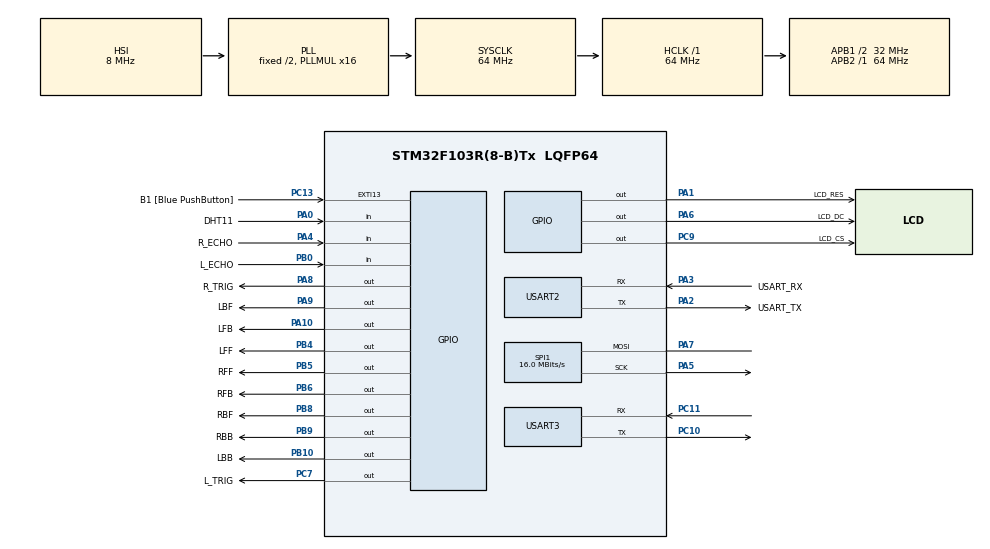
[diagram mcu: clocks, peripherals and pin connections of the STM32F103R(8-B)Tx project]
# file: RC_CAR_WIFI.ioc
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FREERTOS.Tasks01=control_task,24,128,StartDefaultTask,Default,NULL,Dynamic,NULL,NULL;wifi_task,8,128,StartTask02,Default,NULL,Dynamic,NULL,NULL;sensor_task,8,128,StartTask03,Default,NULL,Dynamic,NULL,NULL;ui_log_task,8,128,StartTask04,Default,NULL,Dynamic,NULL,NULL
Mcu.Family=STM32F1
Mcu.Name=STM32F103R(8-B)Tx
Mcu.Package=LQFP64
NVIC.EXTI15_10_IRQn=true\:5\:0\:false\:false\:true\:true\:true\:true\:true
NVIC.PriorityGroup=NVIC_PRIORITYGROUP_4
PA0-WKUP.GPIO_Label=DHT11
PA0-WKUP.Signal=GPIO_Input
PA1.GPIO_Label=LCD_RES
PA1.Signal=GPIO_Output
PA10.GPIO_Label=LFB
PA10.Signal=GPIO_Output
PA13.GPIO_Label=TMS
PA13.Mode=Serial_Wire
PA13.Signal=SYS_JTMS-SWDIO
PA14.GPIO_Label=TCK
PA14.Mode=Serial_Wire
PA14.Signal=SYS_JTCK-SWCLK
PA2.GPIO_Label=USART_TX
PA2.GPIO_Mode=GPIO_MODE_AF_PP
PA2.GPIO_PuPd=GPIO_NOPULL
PA2.GPIO_Speed=GPIO_SPEED_FREQ_LOW
PA2.Mode=Asynchronous
PA2.Signal=USART2_TX
PA3.GPIO_Label=USART_RX
PA3.GPIO_Mode=GPIO_MODE_AF_PP
PA3.GPIO_PuPd=GPIO_NOPULL
PA3.GPIO_Speed=GPIO_SPEED_FREQ_LOW
PA3.Mode=Asynchronous
PA3.Signal=USART2_RX
PA4.GPIO_Label=R_ECHO
PA4.Signal=GPIO_Input
PA5.Mode=Simplex_Bidirectional_Master
PA5.Signal=SPI1_SCK
PA6.GPIO_Label=LCD_DC
PA6.Signal=GPIO_Output
PA7.Mode=Simplex_Bidirectional_Master
PA7.Signal=SPI1_MOSI
PA8.GPIO_Label=R_TRIG
PA8.Signal=GPIO_Output
PA9.GPIO_Label=LBF
PA9.Signal=GPIO_Output
PB0.GPIO_Label=L_ECHO
PB0.Signal=GPIO_Input
PB10.GPIO_Label=LBB
PB10.Signal=GPIO_Output
PB3.GPIO_Label=SWO
PB3.Signal=SYS_JTDO-TRACESWO
PB4.GPIO_Label=LFF
PB4.Signal=GPIO_Output
PB5.GPIO_Label=RFF
PB5.Signal=GPIO_Output
PB6.GPIO_Label=RFB
PB6.Signal=GPIO_Output
PB8.GPIO_Label=RBF
PB8.Signal=GPIO_Output
PB9.GPIO_Label=RBB
PB9.Signal=GPIO_Output
PC10.Mode=Asynchronous
PC10.Signal=USART3_TX
PC11.Mode=Asynchronous
PC11.Signal=USART3_RX
PC13-TAMPER-RTC.GPIO_Label=B1 [Blue PushButton]
PC13-TAMPER-RTC.GPIO_PuPd=GPIO_NOPULL
PC13-TAMPER-RTC.Signal=GPXTI13
PC14-OSC32_IN.Signal=RCC_OSC32_IN
PC15-OSC32_OUT.Signal=RCC_OSC32_OUT
PC7.GPIO_Label=L_TRIG
PC7.Signal=GPIO_Output
PC9.GPIO_Label=LCD_CS
PC9.Signal=GPIO_Output
PD0-OSC_IN.Signal=RCC_OSC_IN
PD1-OSC_OUT.Signal=RCC_OSC_OUT
ProjectManager.HeapSize=0x200
ProjectManager.StackSize=0x400
ProjectManager.TargetToolchain=STM32CubeIDE
RCC.AHBFreq_Value=64000000
RCC.APB1CLKDivider=RCC_HCLK_DIV2
RCC.APB1Freq_Value=32000000
RCC.APB1TimFreq_Value=64000000
RCC.APB2Freq_Value=64000000
RCC.APB2TimFreq_Value=64000000
RCC.HCLKFreq_Value=64000000
RCC.PLLMUL=RCC_PLL_MUL16
RCC.RTCClockSelection=RCC_RTCCLKSOURCE_LSE
RCC.SYSCLKFreq_VALUE=64000000
RCC.SYSCLKSource=RCC_SYSCLKSOURCE_PLLCLK
RCC.USBFreq_Value=64000000
SPI1.BaudRatePrescaler=SPI_BAUDRATEPRESCALER_4
SPI1.CalculateBaudRate=16.0 MBits/s
SPI1.Direction=SPI_DIRECTION_1LINE
SPI1.Mode=SPI_MODE_MASTER
SPI1.VirtualType=VM_MASTER
TIM1.Prescaler=64-1
USART2.VirtualMode=VM_ASYNC
USART3.VirtualMode=VM_ASYNC
VP_FREERTOS_VS_CMSIS_V2.Mode=CMSIS_V2
VP_TIM1_VS_ClockSourceINT.Mode=Internal
board=NUCLEO-F103RB

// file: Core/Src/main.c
/* USER CODE BEGIN Header */
/**
 ******************************************************************************
 * @file           : main.c
 * @brief          : Main program body (RTOS 4-task + ST7735 + HC-SR04 + DHT11)
 ******************************************************************************
 * @attention
 * Copyright (c) 2025 STMicroelectronics.
 * All rights reserved.
 * This software is licensed under terms that can be found in the LICENSE file
 * in the root directory of this software component.
 * If no LICENSE file comes with this software, it is provided AS-IS.
 ******************************************************************************
 */
/* USER CODE END Header */
#include "main.h"
#include "cmsis_os.h"

/* USER CODE BEGIN Includes */
#include <string.h>
#include <stdio.h>
#include <stdbool.h>
/* USER CODE END Includes */

/* USER CODE BEGIN PTD */
typedef enum {
	MOTOR_STOP = 0, MOTOR_FWD, MOTOR_REV, MOTOR_LEFT, MOTOR_RIGHT
} motor_cmd_t;

typedef struct {
	uint16_t left_mm;
	uint16_t right_mm;
	int8_t temp_c;   // DHT11
	int8_t humid;    // DHT11
	uint8_t dht_ok;   // 1=valid
} sensor_snapshot_t;
/* USER CODE END PTD */

/* USER CODE BEGIN PD */
#define ST7735_NOP     0x00
#define ST7735_SWRESET 0x01
#define ST7735_RDDID   0x04
#define ST7735_RDDST   0x09
#define ST7735_SLPIN   0x10
#define ST7735_SLPOUT  0x11
#define ST7735_PTLON   0x12
#define ST7735_NORON   0x13
#define ST7735_INVOFF  0x20
#define ST7735_INVON   0x21
#define ST7735_DISPOFF 0x28
#define ST7735_DISPON  0x29
#define ST7735_CASET   0x2A
#define ST7735_RASET   0x2B
#define ST7735_RAMWR   0x2C
#define ST7735_RAMRD   0x2E
#define ST7735_PTLAR   0x30
#define ST7735_COLMOD  0x3A
#define ST7735_MADCTL  0x36
#define ST7735_FRMCTR1 0xB1
#define ST7735_FRMCTR2 0xB2
#define ST7735_FRMCTR3 0xB3
#define ST7735_INVCTR  0xB4
#define ST7735_DISSET5 0xB6
#define ST7735_PWCTR1  0xC0
#define ST7735_PWCTR2  0xC1
#define ST7735_PWCTR3  0xC2
#define ST7735_PWCTR4  0xC3
#define ST7735_PWCTR5  0xC4
#define ST7735_VMCTR1  0xC5
#define ST7735_RDID1   0xDA
#define ST7735_RDID2   0xDB
#define ST7735_RDID3   0xDC
#define ST7735_RDID4   0xDD
#define ST7735_GMCTRP1 0xE0
#define ST7735_GMCTRN1 0xE1

// LCD dimensions
#define LCD_WIDTH  160
#define LCD_HEIGHT 120

// Colors (RGB565)
#define BLACK   0x0000
#define WHITE   0xFFFF
#define RED     0xF800
#define GREEN   0x07E0
#define BLUE    0x001F
#define CYAN    0x07FF
#define MAGENTA 0xF81F
#define YELLOW  0xFFE0
/* USER CODE END PD */

/* USER CODE BEGIN PM */
#define LCD_CS_LOW()   HAL_GPIO_WritePin(LCD_CS_GPIO_Port,  LCD_CS_Pin,  GPIO_PIN_RESET)
#define LCD_CS_HIGH()  HAL_GPIO_WritePin(LCD_CS_GPIO_Port,  LCD_CS_Pin,  GPIO_PIN_SET)
#define LCD_DC_LOW()   HAL_GPIO_WritePin(LCD_DC_GPIO_Port,  LCD_DC_Pin,  GPIO_PIN_RESET)
#define LCD_DC_HIGH()  HAL_GPIO_WritePin(LCD_DC_GPIO_Port,  LCD_DC_Pin,  GPIO_PIN_SET)
#define LCD_RES_LOW()  HAL_GPIO_WritePin(LCD_RES_GPIO_Port, LCD_RES_Pin, GPIO_PIN_RESET)
#define LCD_RES_HIGH() HAL_GPIO_WritePin(LCD_RES_GPIO_Port, LCD_RES_Pin, GPIO_PIN_SET)
/* USER CODE END PM */

SPI_HandleTypeDef hspi1;
TIM_HandleTypeDef htim1;
UART_HandleTypeDef huart2;
UART_HandleTypeDef huart3;

/* RTOS: threads */
osThreadId_t control_taskHandle;
const osThreadAttr_t control_task_attributes = { .name = "control_task",
		.stack_size = 256 * 4, .priority = (osPriority_t) osPriorityNormal, };
osThreadId_t wifi_taskHandle;
const osThreadAttr_t wifi_task_attributes = { .name = "wifi_task", .stack_size =
		256 * 4, .priority = (osPriority_t) osPriorityAboveNormal, };
osThreadId_t sensor_taskHandle;
const osThreadAttr_t sensor_task_attributes = { .name = "sensor_task",
		.stack_size = 256 * 4, .priority = (osPriority_t) osPriorityNormal, };
osThreadId_t ui_log_taskHandle;
const osThreadAttr_t ui_log_task_attributes = { .name = "ui_log_task",
		.stack_size = 512 * 4, .priority = (osPriority_t) osPriorityLow, };

/* USER CODE BEGIN PV */
/* 8x8 폰트 배열 (생략 없이, 위에서 제공한 font8x8 그대로 사용) */
static const uint8_t font8x8[][8] = {
/* (== 여기에 너가 올린 폰트 테이블을 그대로 둠 ==) */
#include "font8x8_full.inc" // 편집기 분량 제한을 피하려면 프로젝트에 포함.
		};
/* 만약 별도 파일이 싫다면, 너가 준 테이블을 그대로 이 자리(코멘트 지우고) 붙여넣어도 됨. */

/*** 전역 상태 ***/
static volatile motor_cmd_t g_motor_cmd = MOTOR_STOP;
static sensor_snapshot_t g_sensors = { 0 };

/*** printf 재지정 ***/
int __io_putchar(int ch) {
	HAL_UART_Transmit(&huart2, (uint8_t*) &ch, 1, HAL_MAX_DELAY);
	return ch;
}

/*** 마이크로초 유틸 (TIM1) ***/
static inline void us_timer_reset(void) {
	__HAL_TIM_SET_COUNTER(&htim1, 0);
}
static inline uint16_t us_timer_get(void) {
	return __HAL_TIM_GET_COUNTER(&htim1);
} // 0.888us/틱(대략)

/*** DHT11 핀 모드 변경 ***/
static inline void DHT11_SetOutput(void) {
	GPIO_InitTypeDef io = { 0 };
	io.Pin = DHT11_Pin;
	io.Mode = GPIO_MODE_OUTPUT_PP;
	io.Speed = GPIO_SPEED_FREQ_LOW;
	io.Pull = GPIO_NOPULL;
	HAL_GPIO_Init(DHT11_GPIO_Port, &io);
}
static inline void DHT11_SetInput(void) {
	GPIO_InitTypeDef io = { 0 };
	io.Pin = DHT11_Pin;
	io.Mode = GPIO_MODE_INPUT;
	io.Pull = GPIO_NOPULL;
	HAL_GPIO_Init(DHT11_GPIO_Port, &io);
}

/*** 전방 선언(LCD) ***/
void LCD_WriteCommand(uint8_t cmd);
void LCD_WriteData(uint8_t data);
void LCD_WriteData16(uint16_t data);
void LCD_Init(void);
void LCD_SetWindow(uint8_t x0, uint8_t y0, uint8_t x1, uint8_t y1);
void LCD_DrawPixel(uint8_t x, uint8_t y, uint16_t color);
void LCD_Fill(uint16_t color);
void LCD_DrawChar(uint8_t x, uint8_t y, char ch, uint16_t color,
		uint16_t bg_color);
void LCD_DrawString(uint8_t x, uint8_t y, const char *str, uint16_t color,
		uint16_t bg_color);

/*** 기능 함수 전방 선언 ***/
void motors_apply(motor_cmd_t cmd);
uint16_t hcsr04_read_mm(GPIO_TypeDef *trig_port, uint16_t trig_pin,
		GPIO_TypeDef *echo_port, uint16_t echo_pin);
uint8_t dht11_read(int8_t *temperature, int8_t *humidity);

/* USER CODE END PV */

void SystemClock_Config(void);
static void MX_GPIO_Init(void);
static void MX_USART2_UART_Init(void);
static void MX_SPI1_Init(void);
static void MX_TIM1_Init(void);
static void MX_USART3_UART_Init(void);

/* RTOS task entry points */
void StartControlTask(void *argument);
void StartWifiTask(void *argument);
void StartSensorTask(void *argument);
void StartUiLogTask(void *argument);

/* LCD low-level -------------------------------------------------------------*/
/* USER CODE BEGIN 0 */
void LCD_WriteCommand(uint8_t cmd) {
	LCD_CS_LOW();
	LCD_DC_LOW();
	HAL_SPI_Transmit(&hspi1, &cmd, 1, HAL_MAX_DELAY);
	LCD_CS_HIGH();
}
void LCD_WriteData(uint8_t data) {
	LCD_CS_LOW();
	LCD_DC_HIGH();
	HAL_SPI_Transmit(&hspi1, &data, 1, HAL_MAX_DELAY);
	LCD_CS_HIGH();
}
void LCD_WriteData16(uint16_t data) {
	uint8_t buffer[2];
	buffer[0] = (data >> 8) & 0xFF;
	buffer[1] = data & 0xFF;
	LCD_CS_LOW();
	LCD_DC_HIGH();
	HAL_SPI_Transmit(&hspi1, buffer, 2, HAL_MAX_DELAY);
	LCD_CS_HIGH();
}
void LCD_Init(void) {
	LCD_RES_LOW();
	HAL_Delay(100);
	LCD_RES_HIGH();
	HAL_Delay(100);
	LCD_WriteCommand(ST7735_SWRESET);
	HAL_Delay(150);
	LCD_WriteCommand(ST7735_SLPOUT);
	HAL_Delay(120);

	LCD_WriteCommand(ST7735_FRMCTR1);
	LCD_WriteData(0x01);
	LCD_WriteData(0x2C);
	LCD_WriteData(0x2D);
	LCD_WriteCommand(ST7735_FRMCTR2);
	LCD_WriteData(0x01);
	LCD_WriteData(0x2C);
	LCD_WriteData(0x2D);
	LCD_WriteCommand(ST7735_FRMCTR3);
	LCD_WriteData(0x01);
	LCD_WriteData(0x2C);
	LCD_WriteData(0x2D);
	LCD_WriteData(0x01);
	LCD_WriteData(0x2C);
	LCD_WriteData(0x2D);
	LCD_WriteCommand(ST7735_INVCTR);
	LCD_WriteData(0x07);

	LCD_WriteCommand(ST7735_PWCTR1);
	LCD_WriteData(0xA2);
	LCD_WriteData(0x02);
	LCD_WriteData(0x84);
	LCD_WriteCommand(ST7735_PWCTR2);
	LCD_WriteData(0xC5);
	LCD_WriteCommand(ST7735_PWCTR3);
	LCD_WriteData(0x0A);
	LCD_WriteData(0x00);
	LCD_WriteCommand(ST7735_PWCTR4);
	LCD_WriteData(0x8A);
	LCD_WriteData(0x2A);
	LCD_WriteCommand(ST7735_PWCTR5);
	LCD_WriteData(0x8A);
	LCD_WriteData(0xEE);
	LCD_WriteCommand(ST7735_VMCTR1);
	LCD_WriteData(0x0E);

	LCD_WriteCommand(ST7735_INVOFF);
	LCD_WriteCommand(ST7735_MADCTL);
	LCD_WriteData(0x60); // 90도 + X 미러 (네가 쓰던 값)

	LCD_WriteCommand(ST7735_COLMOD);
	LCD_WriteData(0x05);

	// Column
	LCD_WriteCommand(ST7735_CASET);
	LCD_WriteData(0x00);
	LCD_WriteData(0x00);
	LCD_WriteData(0x00);
	LCD_WriteData(0x9F); // 159
	// Row (120px)
	LCD_WriteCommand(ST7735_RASET);
	LCD_WriteData(0x00);
	LCD_WriteData(0x00);
	LCD_WriteData(0x00);
	LCD_WriteData(0x77); // 79 → 여기선 120에 맞춰 0x77로 바꿀 수 있음

	LCD_WriteCommand(ST7735_NORON);
	HAL_Delay(10);
	LCD_WriteCommand(ST7735_DISPON);
	HAL_Delay(100);
}
void LCD_SetWindow(uint8_t x0, uint8_t y0, uint8_t x1, uint8_t y1) {
	uint8_t x_offset = 0, y_offset = 0;
	LCD_WriteCommand(ST7735_CASET);
	LCD_WriteData(0x00);
	LCD_WriteData(x0 + x_offset);
	LCD_WriteData(0x00);
	LCD_WriteData(x1 + x_offset);
	LCD_WriteCommand(ST7735_RASET);
	LCD_WriteData(0x00);
	LCD_WriteData(y0 + y_offset);
	LCD_WriteData(0x00);
	LCD_WriteData(y1 + y_offset);
	LCD_WriteCommand(ST7735_RAMWR);
}
void LCD_DrawPixel(uint8_t x, uint8_t y, uint16_t color) {
	if (x >= LCD_WIDTH || y >= LCD_HEIGHT)
		return;
	LCD_SetWindow(x, y, x, y);
	LCD_WriteData16(color);
}
void LCD_Fill(uint16_t color) {
	LCD_SetWindow(0, 0, LCD_WIDTH - 1, LCD_HEIGHT - 1);
	LCD_CS_LOW();
	LCD_DC_HIGH();
	uint8_t buf[2] = { (color >> 8) & 0xFF, color & 0xFF };
	for (uint32_t i = 0; i < (uint32_t) LCD_WIDTH * LCD_HEIGHT; i++) {
		HAL_SPI_Transmit(&hspi1, buf, 2, HAL_MAX_DELAY);
	}
	LCD_CS_HIGH();
}
void LCD_DrawChar(uint8_t x, uint8_t y, char ch, uint16_t color,
		uint16_t bg_color) {
	if (ch < 32 || ch > 126)
		ch = 32;
	const uint8_t *fc = font8x8[ch - 32];
	for (uint8_t i = 0; i < 8; i++) {
		uint8_t line = fc[i];
		for (uint8_t j = 0; j < 8; j++) {
			if (line & (0x01 << j))
				LCD_DrawPixel(x + j, y + i, color);
			else
				LCD_DrawPixel(x + j, y + i, bg_color);
		}
	}
}
void LCD_DrawString(uint8_t x, uint8_t y, const char *s, uint16_t color,
		uint16_t bg) {
	uint8_t ox = x;
	while (*s) {
		if (*s == '\n') {
			y += 8;
			x = ox;
			s++;
			continue;
		}
		if (x + 8 > LCD_WIDTH) {
			x = ox;
			y += 8;
		}
		if (y + 8 > LCD_HEIGHT)
			break;
		LCD_DrawChar(x, y, *s, color, bg);
		x += 8;
		s++;
	}
}
/* USER CODE END 0 */

int main(void) {
	HAL_Init();
	SystemClock_Config();

	MX_GPIO_Init();
	MX_USART2_UART_Init();
	MX_SPI1_Init();
	MX_TIM1_Init();
	MX_USART3_UART_Init();

	/* 시작 전 하드웨어 준비 */
	HAL_TIM_Base_Start(&htim1);   // us 타이머

	LCD_Init();
	LCD_Fill(BLACK);
	LCD_DrawString(4, 4, "Booting...", YELLOW, BLACK);

	/* RTOS */
	osKernelInitialize();

	control_taskHandle = osThreadNew(StartControlTask, NULL,
			&control_task_attributes);
	wifi_taskHandle = osThreadNew(StartWifiTask, NULL, &wifi_task_attributes);
	sensor_taskHandle = osThreadNew(StartSensorTask, NULL,
			&sensor_task_attributes);
	ui_log_taskHandle = osThreadNew(StartUiLogTask, NULL,
			&ui_log_task_attributes);

	osKernelStart();

	while (1) {
	}
}

void SystemClock_Config(void) {
	RCC_OscInitTypeDef RCC_OscInitStruct = { 0 };
	RCC_ClkInitTypeDef RCC_ClkInitStruct = { 0 };

	RCC_OscInitStruct.OscillatorType = RCC_OSCILLATORTYPE_HSI;
	RCC_OscInitStruct.HSIState = RCC_HSI_ON;
	RCC_OscInitStruct.HSICalibrationValue = RCC_HSICALIBRATION_DEFAULT;
	RCC_OscInitStruct.PLL.PLLState = RCC_PLL_ON;
	RCC_OscInitStruct.PLL.PLLSource = RCC_PLLSOURCE_HSI_DIV2;
	RCC_OscInitStruct.PLL.PLLMUL = RCC_PLL_MUL16;  // 64 MHz
	if (HAL_RCC_OscConfig(&RCC_OscInitStruct) != HAL_OK) {
		Error_Handler();
	}

	RCC_ClkInitStruct.ClockType = RCC_CLOCKTYPE_HCLK | RCC_CLOCKTYPE_SYSCLK
			| RCC_CLOCKTYPE_PCLK1 | RCC_CLOCKTYPE_PCLK2;
	RCC_ClkInitStruct.SYSCLKSource = RCC_SYSCLKSOURCE_PLLCLK;
	RCC_ClkInitStruct.AHBCLKDivider = RCC_SYSCLK_DIV1;
	RCC_ClkInitStruct.APB1CLKDivider = RCC_HCLK_DIV2;
	RCC_ClkInitStruct.APB2CLKDivider = RCC_HCLK_DIV1;
	if (HAL_RCC_ClockConfig(&RCC_ClkInitStruct, FLASH_LATENCY_2) != HAL_OK) {
		Error_Handler();
	}
}

static void MX_SPI1_Init(void) {
	hspi1.Instance = SPI1;
	hspi1.Init.Mode = SPI_MODE_MASTER;
	hspi1.Init.Direction = SPI_DIRECTION_1LINE;
	hspi1.Init.DataSize = SPI_DATASIZE_8BIT;
	hspi1.Init.CLKPolarity = SPI_POLARITY_LOW;
	hspi1.Init.CLKPhase = SPI_PHASE_1EDGE;
	hspi1.Init.NSS = SPI_NSS_SOFT;
	hspi1.Init.BaudRatePrescaler = SPI_BAUDRATEPRESCALER_4; // 빠르면 8/4로 조절
	hspi1.Init.FirstBit = SPI_FIRSTBIT_MSB;
	hspi1.Init.TIMode = SPI_TIMODE_DISABLE;
	hspi1.Init.CRCCalculation = SPI_CRCCALCULATION_DISABLE;
	hspi1.Init.CRCPolynomial = 10;
	if (HAL_SPI_Init(&hspi1) != HAL_OK) {
		Error_Handler();
	}
}

/* TIM1 (us 타이머) ----------------------------------------------------------*/
static void MX_TIM1_Init(void) {
	TIM_ClockConfigTypeDef sClockSourceConfig = { 0 };
	TIM_MasterConfigTypeDef sMasterConfig = { 0 };

	htim1.Instance = TIM1;
	htim1.Init.Prescaler = 64 - 1; // 64MHz/64 ≈ 1MHz (실제로 F103에서 TIM1는 x2 클럭—대략 0.888us)
	htim1.Init.CounterMode = TIM_COUNTERMODE_UP;
	htim1.Init.Period = 0xFFFF;
	htim1.Init.ClockDivision = TIM_CLOCKDIVISION_DIV1;
	htim1.Init.RepetitionCounter = 0;
	htim1.Init.AutoReloadPreload = TIM_AUTORELOAD_PRELOAD_DISABLE;
	if (HAL_TIM_Base_Init(&htim1) != HAL_OK) {
		Error_Handler();
	}
	sClockSourceConfig.ClockSource = TIM_CLOCKSOURCE_INTERNAL;
	if (HAL_TIM_ConfigClockSource(&htim1, &sClockSourceConfig) != HAL_OK) {
		Error_Handler();
	}
	sMasterConfig.MasterOutputTrigger = TIM_TRGO_RESET;
	sMasterConfig.MasterSlaveMode = TIM_MASTERSLAVEMODE_DISABLE;
	if (HAL_TIMEx_MasterConfigSynchronization(&htim1, &sMasterConfig)
			!= HAL_OK) {
		Error_Handler();
	}
}

/* USART2 (printf) -----------------------------------------------------------*/
static void MX_USART2_UART_Init(void) {
	huart2.Instance = USART2;
	huart2.Init.BaudRate = 115200;
	huart2.Init.WordLength = UART_WORDLENGTH_8B;
	huart2.Init.StopBits = UART_STOPBITS_1;
	huart2.Init.Parity = UART_PARITY_NONE;
	huart2.Init.Mode = UART_MODE_TX_RX;
	huart2.Init.HwFlowCtl = UART_HWCONTROL_NONE;
	huart2.Init.OverSampling = UART_OVERSAMPLING_16;
	if (HAL_UART_Init(&huart2) != HAL_OK) {
		Error_Handler();
	}
}

/* USART3 (Wi-Fi/명령 수신) ---------------------------------------------------*/
static void MX_USART3_UART_Init(void) {
	huart3.Instance = USART3;
	huart3.Init.BaudRate = 115200;
	huart3.Init.WordLength = UART_WORDLENGTH_8B;
	huart3.Init.StopBits = UART_STOPBITS_1;
	huart3.Init.Parity = UART_PARITY_NONE;
	huart3.Init.Mode = UART_MODE_TX_RX;
	huart3.Init.HwFlowCtl = UART_HWCONTROL_NONE;
	huart3.Init.OverSampling = UART_OVERSAMPLING_16;
	if (HAL_UART_Init(&huart3) != HAL_OK) {
		Error_Handler();
	}
}

static void MX_GPIO_Init(void) {
	GPIO_InitTypeDef GPIO_InitStruct = { 0 };

	__HAL_RCC_GPIOC_CLK_ENABLE();
	__HAL_RCC_GPIOD_CLK_ENABLE();
	__HAL_RCC_GPIOA_CLK_ENABLE();
	__HAL_RCC_GPIOB_CLK_ENABLE();

	HAL_GPIO_WritePin(GPIOA,
			LCD_RES_Pin | LCD_DC_Pin | R_TRIG_Pin | LBF_Pin | LFB_Pin,
			GPIO_PIN_RESET);
	HAL_GPIO_WritePin(GPIOB,
			LBB_Pin | LFF_Pin | RFF_Pin | RFB_Pin | RBF_Pin | RBB_Pin,
			GPIO_PIN_RESET);
	HAL_GPIO_WritePin(GPIOC, L_TRIG_Pin | LCD_CS_Pin, GPIO_PIN_RESET);

	/* Blue Button */
	GPIO_InitStruct.Pin = B1_Pin;
	GPIO_InitStruct.Mode = GPIO_MODE_IT_RISING;
	GPIO_InitStruct.Pull = GPIO_NOPULL;
	HAL_GPIO_Init(B1_GPIO_Port, &GPIO_InitStruct);

	/* DHT11 + R_ECHO */
	GPIO_InitStruct.Pin = DHT11_Pin | R_ECHO_Pin;
	GPIO_InitStruct.Mode = GPIO_MODE_INPUT;
	GPIO_InitStruct.Pull = GPIO_NOPULL;
	HAL_GPIO_Init(GPIOA, &GPIO_InitStruct);

	/* L_ECHO */
	GPIO_InitStruct.Pin = L_ECHO_Pin;
	GPIO_InitStruct.Mode = GPIO_MODE_INPUT;
	GPIO_InitStruct.Pull = GPIO_NOPULL;
	HAL_GPIO_Init(L_ECHO_GPIO_Port, &GPIO_InitStruct);

	/* LCD / TRIG / 모터 핀들 */
	GPIO_InitStruct.Pin = LCD_RES_Pin | LCD_DC_Pin | R_TRIG_Pin | LBF_Pin
			| LFB_Pin;
	GPIO_InitStruct.Mode = GPIO_MODE_OUTPUT_PP;
	GPIO_InitStruct.Pull = GPIO_NOPULL;
	GPIO_InitStruct.Speed = GPIO_SPEED_FREQ_LOW;
	HAL_GPIO_Init(GPIOA, &GPIO_InitStruct);

	GPIO_InitStruct.Pin = LBB_Pin | LFF_Pin | RFF_Pin | RFB_Pin | RBF_Pin
			| RBB_Pin;
	HAL_GPIO_Init(GPIOB, &GPIO_InitStruct);

	GPIO_InitStruct.Pin = L_TRIG_Pin | LCD_CS_Pin;
	HAL_GPIO_Init(GPIOC, &GPIO_InitStruct);

	HAL_NVIC_SetPriority(EXTI15_10_IRQn, 5, 0);
	HAL_NVIC_EnableIRQ(EXTI15_10_IRQn);
}

/* ------------------- 기능 구현부 ------------------------------------------*/
/* 모터 구동: TB6612/L298 등 드라이버에 맞게 수정 */
void motors_apply(motor_cmd_t cmd) {
	switch (cmd) {
	case MOTOR_FWD:
		HAL_GPIO_WritePin(LFF_GPIO_Port, LFF_Pin, GPIO_PIN_SET);
		HAL_GPIO_WritePin(LFB_GPIO_Port, LFB_Pin, GPIO_PIN_RESET);
		HAL_GPIO_WritePin(RFF_GPIO_Port, RFF_Pin, GPIO_PIN_SET);
		HAL_GPIO_WritePin(RFB_GPIO_Port, RFB_Pin, GPIO_PIN_RESET);
		break;
	case MOTOR_REV:
		HAL_GPIO_WritePin(LFF_GPIO_Port, LFF_Pin, GPIO_PIN_RESET);
		HAL_GPIO_WritePin(LFB_GPIO_Port, LFB_Pin, GPIO_PIN_SET);
		HAL_GPIO_WritePin(RFF_GPIO_Port, RFF_Pin, GPIO_PIN_RESET);
		HAL_GPIO_WritePin(RFB_GPIO_Port, RFB_Pin, GPIO_PIN_SET);
		break;
	case MOTOR_LEFT:
		HAL_GPIO_WritePin(LFF_GPIO_Port, LFF_Pin, GPIO_PIN_RESET);
		HAL_GPIO_WritePin(LFB_GPIO_Port, LFB_Pin, GPIO_PIN_SET);
		HAL_GPIO_WritePin(RFF_GPIO_Port, RFF_Pin, GPIO_PIN_SET);
		HAL_GPIO_WritePin(RFB_GPIO_Port, RFB_Pin, GPIO_PIN_RESET);
		break;
	case MOTOR_RIGHT:
		HAL_GPIO_WritePin(LFF_GPIO_Port, LFF_Pin, GPIO_PIN_SET);
		HAL_GPIO_WritePin(LFB_GPIO_Port, LFB_Pin, GPIO_PIN_RESET);
		HAL_GPIO_WritePin(RFF_GPIO_Port, RFF_Pin, GPIO_PIN_RESET);
		HAL_GPIO_WritePin(RFB_GPIO_Port, RFB_Pin, GPIO_PIN_SET);
		break;
	default:
	case MOTOR_STOP:
		HAL_GPIO_WritePin(LFF_GPIO_Port, LFF_Pin, GPIO_PIN_RESET);
		HAL_GPIO_WritePin(LFB_GPIO_Port, LFB_Pin, GPIO_PIN_RESET);
		HAL_GPIO_WritePin(RFF_GPIO_Port, RFF_Pin, GPIO_PIN_RESET);
		HAL_GPIO_WritePin(RFB_GPIO_Port, RFB_Pin, GPIO_PIN_RESET);
		break;
	}
}

/* 초음파 1회 측정 (폴링 버전: 간단/안정) */
uint16_t hcsr04_read_mm(GPIO_TypeDef *trig_port, uint16_t trig_pin,
		GPIO_TypeDef *echo_port, uint16_t echo_pin) {
	// TRIG: 10us High
	HAL_GPIO_WritePin(trig_port, trig_pin, GPIO_PIN_RESET);
	HAL_Delay(1);
	HAL_GPIO_WritePin(trig_port, trig_pin, GPIO_PIN_SET);
	us_timer_reset();
	while (us_timer_get() < 12)
		; // ≈10us
	HAL_GPIO_WritePin(trig_port, trig_pin, GPIO_PIN_RESET);

	// ECHO: HIGH 시작 대기 (타임아웃 20ms)
	us_timer_reset();
	while (HAL_GPIO_ReadPin(echo_port, echo_pin) == GPIO_PIN_RESET) {
		if (us_timer_get() > 20000)
			return 0xFFFF; // timeout
	}
	// HIGH 폭 계측
	us_timer_reset();
	while (HAL_GPIO_ReadPin(echo_port, echo_pin) == GPIO_PIN_SET) {
		if (us_timer_get() > 40000)
			break; // 40ms cap (~6.8m)
	}
	uint16_t us = us_timer_get();           // ~0.888us 단위
	float usec = us * 0.888f;               // 보정 (근사)
	uint16_t dist = (uint16_t) (usec * 0.343f / 2.0f); // mm (음속 343 m/s)
	return dist;
}

/* DHT11 읽기(간단 파서, 타이밍 여유 있음) */
uint8_t dht11_read(int8_t *temperature, int8_t *humidity) {
	uint8_t data[5] = { 0 };

	// 시작 신호
	DHT11_SetOutput();
	HAL_GPIO_WritePin(DHT11_GPIO_Port, DHT11_Pin, GPIO_PIN_RESET);
	HAL_Delay(18); // 18ms Low
	HAL_GPIO_WritePin(DHT11_GPIO_Port, DHT11_Pin, GPIO_PIN_SET);
	us_timer_reset();
	while (us_timer_get() < 40)
		; // 20~40us
	DHT11_SetInput();

	// 응답: LOW 80us, HIGH 80us
	us_timer_reset();
	while (HAL_GPIO_ReadPin(DHT11_GPIO_Port, DHT11_Pin) == GPIO_PIN_SET) {
		if (us_timer_get() > 120)
			return 0; // no response
	}
	us_timer_reset();
	while (HAL_GPIO_ReadPin(DHT11_GPIO_Port, DHT11_Pin) == GPIO_PIN_RESET) {
		if (us_timer_get() > 120)
			return 0;
	}
	us_timer_reset();
	while (HAL_GPIO_ReadPin(DHT11_GPIO_Port, DHT11_Pin) == GPIO_PIN_SET) {
		if (us_timer_get() > 120)
			return 0;
	}

	// 40비트 수신
	for (int i = 0; i < 40; i++) {
		// LOW 구간
		us_timer_reset();
		while (HAL_GPIO_ReadPin(DHT11_GPIO_Port, DHT11_Pin) == GPIO_PIN_RESET) {
			if (us_timer_get() > 120)
				return 0;
		}
		// HIGH 길이 측정
		us_timer_reset();
		while (HAL_GPIO_ReadPin(DHT11_GPIO_Port, DHT11_Pin) == GPIO_PIN_SET) {
			if (us_timer_get() > 200)
				break;
		}
		uint16_t high_us = us_timer_get(); // 26~28us=0, ~70us=1 (보정필요)
		uint8_t bit = (high_us > 60) ? 1 : 0;  // 임계 60us 근사
		data[i / 8] <<= 1;
		data[i / 8] |= bit;
	}

	uint8_t sum = data[0] + data[1] + data[2] + data[3];
	if (sum != data[4])
		return 0;

	*humidity = data[0];
	*temperature = data[2];
	return 1;
}

/* ------------------- RTOS TASKS -------------------------------------------*/
void StartControlTask(void *argument) {
	TickType_t t0 = xTaskGetTickCount();
	for (;;) {
		motors_apply(g_motor_cmd);
		vTaskDelayUntil(&t0, pdMS_TO_TICKS(10)); // 100 Hz
	}
}
void StartWifiTask(void *argument) {
	/* 간단 텍스트 명령 수신: "FWD", "REV", "LEFT", "RIGHT", "STOP" + \n */
	char rx[32];
	uint8_t idx = 0;
	char ch;
	for (;;) {
		if (HAL_UART_Receive(&huart3, (uint8_t*) &ch, 1, 10) == HAL_OK) {
			if (ch == '\r')
				continue;
			if (ch == '\n') {
				rx[idx] = 0;
				idx = 0;
				if (!strcmp(rx, "FWD"))
					g_motor_cmd = MOTOR_FWD;
				else if (!strcmp(rx, "REV"))
					g_motor_cmd = MOTOR_REV;
				else if (!strcmp(rx, "LEFT"))
					g_motor_cmd = MOTOR_LEFT;
				else if (!strcmp(rx, "RIGHT"))
					g_motor_cmd = MOTOR_RIGHT;
				else
					g_motor_cmd = MOTOR_STOP;
				printf("[CMD] %s -> %d\r\n", rx, (int) g_motor_cmd);
			} else {
				if (idx < sizeof(rx) - 1)
					rx[idx++] = ch;
			}
		} else {
			osDelay(1);
		}
	}
}
void StartSensorTask(void *argument) {
	TickType_t t_ultra = xTaskGetTickCount();
	TickType_t t_dht = xTaskGetTickCount();
	for (;;) {
		/* 50ms마다 초음파(좌/우 순차) */
		if (xTaskGetTickCount() - t_ultra >= pdMS_TO_TICKS(50)) {
			uint16_t l = hcsr04_read_mm(L_TRIG_GPIO_Port, L_TRIG_Pin,
					L_ECHO_GPIO_Port, L_ECHO_Pin);
			osDelay(30); // 크로스토크 방지
			uint16_t r = hcsr04_read_mm(R_TRIG_GPIO_Port, R_TRIG_Pin,
					R_ECHO_GPIO_Port, R_ECHO_Pin);
			if (l != 0xFFFF)
				g_sensors.left_mm = l;
			if (r != 0xFFFF)
				g_sensors.right_mm = r;
			t_ultra = xTaskGetTickCount();
		}
		/* 1초마다 DHT11 */
		if (xTaskGetTickCount() - t_dht >= pdMS_TO_TICKS(1000)) {
			int8_t t = 0, h = 0;
			uint8_t ok = dht11_read(&t, &h);
			if (ok) {
				g_sensors.temp_c = t;
				g_sensors.humid = h;
				g_sensors.dht_ok = 1;
			} else {
				g_sensors.dht_ok = 0;
			}
			t_dht = xTaskGetTickCount();
		}
		osDelay(1);
	}
}
void StartUiLogTask(void *argument) {
	char line[64];
	LCD_Fill(BLACK);
	LCD_DrawString(4, 4, "STM32F103 RTOS Demo", CYAN, BLACK);
	for (;;) {
		/* 화면 갱신 */
		snprintf(line, sizeof(line), "CMD: %d", (int) g_motor_cmd);
		LCD_DrawString(4, 20, line, YELLOW, BLACK);
		snprintf(line, sizeof(line), "UL: %4u mm", g_sensors.left_mm);
		LCD_DrawString(4, 32, line, GREEN, BLACK);
		snprintf(line, sizeof(line), "UR: %4u mm", g_sensors.right_mm);
		LCD_DrawString(4, 44, line, GREEN, BLACK);
		if (g_sensors.dht_ok) {
			snprintf(line, sizeof(line), "T:%2dC H:%2d%%", g_sensors.temp_c,
					g_sensors.humid);
			LCD_DrawString(4, 56, line, WHITE, BLACK);
		} else {
			LCD_DrawString(4, 56, "DHT: --", WHITE, BLACK);
		}
		osDelay(200);
	}
}

/* EXTI (Blue Button: 모터 STOP 토글 예시) -----------------------------------*/
void HAL_GPIO_EXTI_Callback(uint16_t GPIO_Pin) {
	if (GPIO_Pin == B1_Pin) {
		g_motor_cmd = MOTOR_STOP;
	}
}

void Error_Handler(void) {
	__disable_irq();
	while (1) {
	}
}
